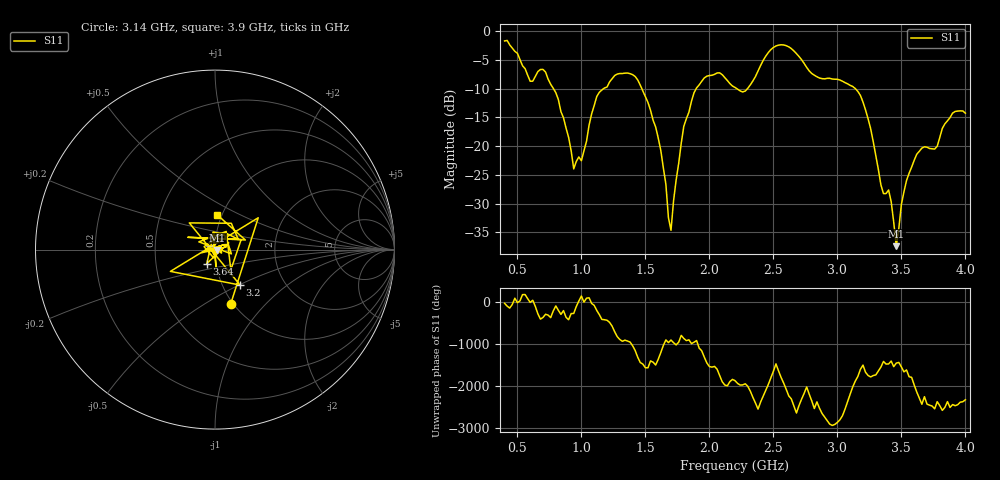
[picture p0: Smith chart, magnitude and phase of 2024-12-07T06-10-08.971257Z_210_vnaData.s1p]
!Created with skrf (http://scikit-rf.org).
# Hz S RI R 50.0
!freq ReS11 ImS11
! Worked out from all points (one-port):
!   181 points, 400 MHz to 4 GHz, reference 50 ohm
!   lowest |S11| = -37.4 dB at 3.46 GHz (marker M1), VSWR 1.03, Z = 51.4 - j0.163 ohm
!   |S11| at or under -10 dB: 782.1 MHz to 1.172 GHz (390.3 MHz wide, 39.9 % of centre); 1.472 GHz to 1.897 GHz (424.2 MHz wide, 25.2 % of centre); 3.141 GHz to end of sweep (the widest 3 of 4)
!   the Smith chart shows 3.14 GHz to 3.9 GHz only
!   S11 on the Smith chart (normalised r, x): 3.14 GHz: 0.97, -0.66; 3.2 GHz: 1.21, -0.51; 3.64 GHz: 0.90, -0.14; 3.9 GHz: 0.95, +0.38
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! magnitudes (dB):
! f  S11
! 400 MHz  -1.7
! 600 MHz  -8.7
! 720 MHz  -7.1
! 860 MHz  -15.1
! 940 MHz  -24.0
! 1 GHz  -22.5
! 1.12 GHz  -11.4
! 1.3 GHz  -7.4
! 1.54 GHz  -13.7
! 1.62 GHz  -20.7
! 1.7 GHz  -34.7
! 1.76 GHz  -23.0
! 1.8 GHz  -16.5
! 1.9 GHz  -9.9
! 2.2 GHz  -9.8
! 2.5 GHz  -2.8
! 2.66 GHz  -3.4
! 3.1 GHz  -9.4
! 3.14 GHz  -10.0
! 3.2 GHz  -12.3
! 3.34 GHz  -26.8
! 3.4 GHz  -27.6
! 3.46 GHz  -37.4
! 3.56 GHz  -24.7
! 3.64 GHz  -20.9
! 3.78 GHz  -20.0
! 3.9 GHz  -14.2
! 4 GHz  -14.3
